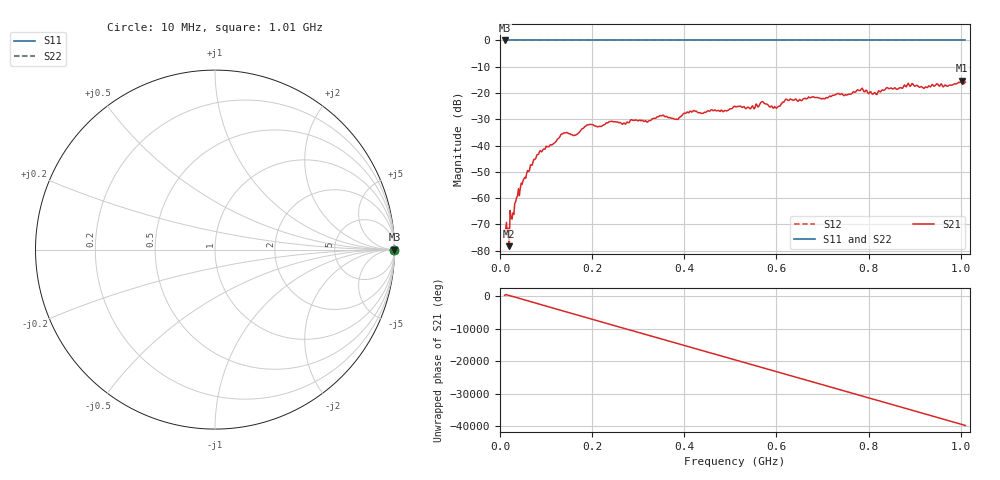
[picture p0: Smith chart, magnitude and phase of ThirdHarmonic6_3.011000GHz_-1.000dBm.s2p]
! 8/17/2025 8:38:21 AM
! C:\ANRITSUVNA\TEMP\TEMP.S2P
! CHANNEL.1
! TR.MEASUREMENT
! RAW.DATA
! RF.CORRECTION.OFF
! AVERAGING.OFF
! IF.BANDWIDTH: 5KHZ
! SWEEPTYPE:  FREQ.SWEEP(Linear)
! Reference Plane Port Info
! PORT:  PORT1  PORT2
! DISTANCE:  0  m  0  m
! TIME:  0  s  0  s
! PHASE.OFFSET:  0  deg.  0  deg.
! LOSS:  0  dB  0  dB
! REF.LOSS:  0  dB  0  dB
! REF.FREQ:  0  Hz  0  Hz
! Power Info
! POWER:  -20  dBm  -20  dBm
! EFF.POWER:  -20  dBm  -20  dBm
! SOURCE.ATTEN:  0  dB  0  dB
! TEST.ATTEN:  0  dB  0  dB
# GHZ S RI R 50.0
! FREQ.GHZ  S11RE  S11IM  S21RE  S21IM  S12RE  S12IM  S22RE  S22IM
!; PortSelection: Port_12
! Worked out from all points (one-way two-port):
!   501 points, 10 MHz to 1.01 GHz, reference 50 ohm
!   highest |S21| = -15.28 dB at 1.002 GHz (marker M1); lowest = -78.3 dB at 20 MHz (marker M2)
!   lowest |S11| = 0.0 dB at 10 MHz (marker M3)
!   |S11| at or under -10 dB: nowhere
!   |S22| runs from 0.0 to 0.0 dB; largest |S21 - S12| = 1.2
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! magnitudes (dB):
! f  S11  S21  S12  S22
! 10 MHz  0.0  -72.3  0.0  0.0
! 16 MHz  0.0  -73.9  0.0  0.0
! 20 MHz  0.0  -78.3  0.0  0.0
! 36 MHz  0.0  -59.7  0.0  0.0
! 48 MHz  0.0  -54.8  0.0  0.0
! 84 MHz  0.0  -43.3  0.0  0.0
! 136 MHz  0.0  -35.6  0.0  0.0
! 162 MHz  0.0  -36.0  0.0  0.0
! 178 MHz  0.0  -33.6  0.0  0.0
! 344 MHz  0.0  -29.0  0.0  0.0
! 382 MHz  0.0  -30.0  0.0  0.0
! 416 MHz  0.0  -27.3  0.0  0.0
! 510 MHz  0.0  -25.1  0.0  0.0
! 570 MHz  0.0  -23.2  0.0  0.0
! 596 MHz  0.0  -25.1  0.0  0.0
! 622 MHz  0.0  -22.4  0.0  0.0
! 678 MHz  0.0  -21.5  0.0  0.0
! 784 MHz  0.0  -18.5  0.0  0.0
! 814 MHz  0.0  -19.9  0.0  0.0
! 844 MHz  0.0  -18.4  0.0  0.0
! 1.002 GHz  0.0  -15.3  0.0  0.0
! 1.01 GHz  0.0  -15.9  0.0  0.0
